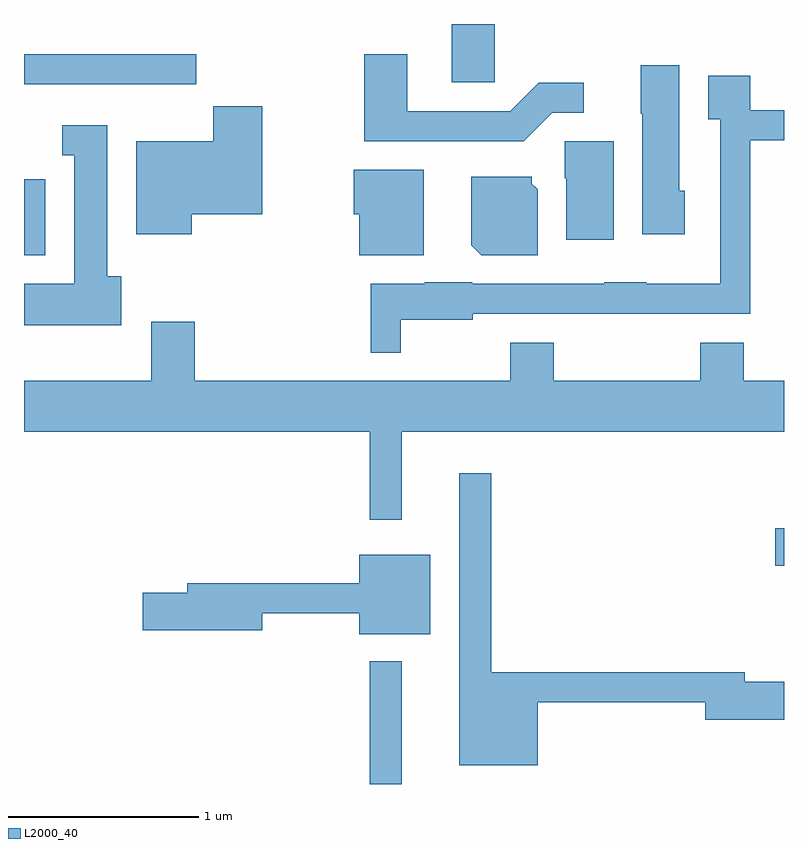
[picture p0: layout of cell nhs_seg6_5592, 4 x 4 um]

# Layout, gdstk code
import gdstk
lib = gdstk.Library(unit=1e-6, precision=1e-09)
def R(c, l, rs):  # rectangles x0, y0, x1, y1
    for r in rs: c.add(gdstk.rectangle(r[:2], r[2:], *l))
def P(c, l, *ps):  # polygons
    for p in ps: c.add(gdstk.Polygon(p, *l))
L2000_40 = (2000, 40)

nhs_seg6_5592 = lib.new_cell('nhs_seg6_5592')
R(nhs_seg6_5592, L2000_40, [(357.431,1568.162,357.599,1568.808), (359.566,1569.311,359.611,1569.509), (355.611,1570.946,355.724,1571.344), (355.611,1571.846,356.518,1572.004), (357.861,1571.856,358.089,1572.162)])
P(nhs_seg6_5592, L2000_40, [(358.392,1571.696),(358.558,1571.696),(358.558,1571.854),(358.319,1571.854),(358.169,1571.704),(357.629,1571.704),(357.629,1572.004),(357.401,1572.004),(357.401,1571.546),(358.242,1571.546)],
  [(359.089,1571.284),(359.059,1571.284),(359.059,1571.944),(358.856,1571.944),(358.856,1571.69),(358.866,1571.69),(358.866,1571.056),(359.089,1571.056)],
  [(357.594,1570.606),(357.974,1570.606),(357.974,1570.636),(359.434,1570.636),(359.434,1571.551),(359.611,1571.551),(359.611,1571.709),(359.434,1571.709),(359.434,1571.889),(359.211,1571.889),(359.211,1571.661),(359.276,1571.661),(359.276,1570.794),(358.885,1570.794),(358.885,1570.804),(358.665,1570.804),(358.665,1570.794),(357.97,1570.794),(357.97,1570.804),(357.72,1570.804),(357.72,1570.794),(357.436,1570.794),(357.436,1570.433),(357.594,1570.433)],
  [(356.494,1571.161),(356.864,1571.161),(356.864,1571.729),(356.606,1571.729),(356.606,1571.544),(356.201,1571.544),(356.201,1571.056),(356.494,1571.056)],
  [(356.124,1570.834),(356.049,1570.834),(356.049,1571.629),(355.813,1571.629),(355.813,1571.471),(355.876,1571.471),(355.876,1570.794),(355.611,1570.794),(355.611,1570.576),(356.124,1570.576)],
  [(358.714,1571.544),(358.456,1571.544),(358.456,1571.35),(358.466,1571.35),(358.466,1571.026),(358.714,1571.026)],
  [(357.714,1571.394),(357.346,1571.394),(357.346,1571.161),(357.376,1571.161),(357.376,1570.946),(357.714,1570.946)],
  [(358.314,1571.292),(358.284,1571.322),(358.284,1571.359),(357.966,1571.359),(357.966,1570.997),(358.017,1570.946),(358.314,1570.946)],
  [(359.611,1570.284),(359.399,1570.284),(359.399,1570.484),(359.171,1570.484),(359.171,1570.284),(358.399,1570.284),(358.399,1570.484),(358.171,1570.484),(358.171,1570.284),(356.509,1570.284),(356.509,1570.594),(356.281,1570.594),(356.281,1570.284),(355.611,1570.284),(355.611,1570.016),(357.431,1570.016),(357.431,1569.553),(357.599,1569.553),(357.599,1570.016),(359.611,1570.016)],
  [(358.314,1568.591),(359.196,1568.591),(359.196,1568.501),(359.611,1568.501),(359.611,1568.699),(359.404,1568.699),(359.404,1568.749),(358.069,1568.749),(358.069,1569.798),(357.901,1569.798),(357.901,1568.261),(358.314,1568.261)],
  [(357.749,1569.369),(357.376,1569.369),(357.376,1569.219),(356.471,1569.219),(356.471,1569.169),(356.236,1569.169),(356.236,1568.971),(356.864,1568.971),(356.864,1569.061),(357.376,1569.061),(357.376,1568.951),(357.749,1568.951)])

lib.write_gds('nhs_seg6_5592.gds')
